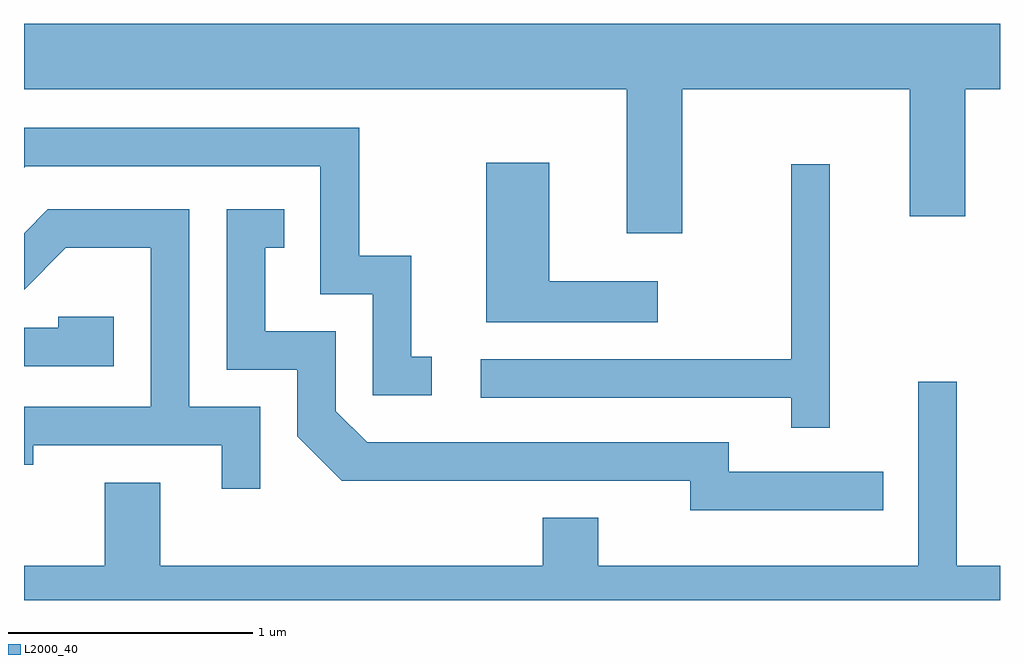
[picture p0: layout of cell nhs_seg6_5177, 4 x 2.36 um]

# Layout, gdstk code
import gdstk
lib = gdstk.Library(unit=1e-6, precision=1e-09)
def P(c, l, *ps):  # polygons
    for p in ps: c.add(gdstk.Polygon(p, *l))
L2000_40 = (2000, 40)

nhs_seg6_5177 = lib.new_cell('nhs_seg6_5177')
P(nhs_seg6_5177, L2000_40, [(346.309,1552.256),(347.241,1552.256),(347.241,1551.736),(347.469,1551.736),(347.469,1552.256),(347.611,1552.256),(347.611,1552.524),(343.611,1552.524),(343.611,1552.256),(346.081,1552.256),(346.081,1551.666),(346.309,1551.666)],
  [(345.283,1551.159),(345.199,1551.159),(345.199,1551.574),(344.984,1551.574),(344.984,1552.099),(343.611,1552.099),(343.611,1551.935),(343.617,1551.941),(344.826,1551.941),(344.826,1551.416),(345.041,1551.416),(345.041,1551.001),(345.283,1551.001)],
  [(346.208,1551.469),(345.764,1551.469),(345.764,1551.954),(345.506,1551.954),(345.506,1551.301),(346.208,1551.301)],
  [(346.914,1551.948),(346.756,1551.948),(346.756,1551.149),(345.483,1551.149),(345.483,1550.991),(346.756,1550.991),(346.756,1550.868),(346.914,1550.868)],
  [(347.133,1550.689),(346.499,1550.689),(346.499,1550.809),(345.017,1550.809),(344.889,1550.937),(344.889,1551.264),(344.599,1551.264),(344.599,1551.606),(344.678,1551.606),(344.678,1551.764),(344.441,1551.764),(344.441,1551.106),(344.731,1551.106),(344.731,1550.834),(344.914,1550.651),(346.341,1550.651),(346.341,1550.531),(347.133,1550.531)],
  [(344.579,1550.954),(344.289,1550.954),(344.289,1551.764),(343.709,1551.764),(343.611,1551.666),(343.611,1551.435),(343.782,1551.606),(344.131,1551.606),(344.131,1550.954),(343.611,1550.954),(343.611,1550.718),(343.649,1550.718),(343.649,1550.796),(344.421,1550.796),(344.421,1550.618),(344.579,1550.618)],
  [(343.979,1551.324),(343.751,1551.324),(343.751,1551.279),(343.611,1551.279),(343.611,1551.121),(343.979,1551.121)],
  [(347.611,1550.304),(347.434,1550.304),(347.434,1551.058),(347.276,1551.058),(347.276,1550.304),(345.964,1550.304),(345.964,1550.499),(345.736,1550.499),(345.736,1550.304),(344.169,1550.304),(344.169,1550.644),(343.941,1550.644),(343.941,1550.304),(343.611,1550.304),(343.611,1550.162),(347.611,1550.162)])

lib.write_gds('nhs_seg6_5177.gds')
